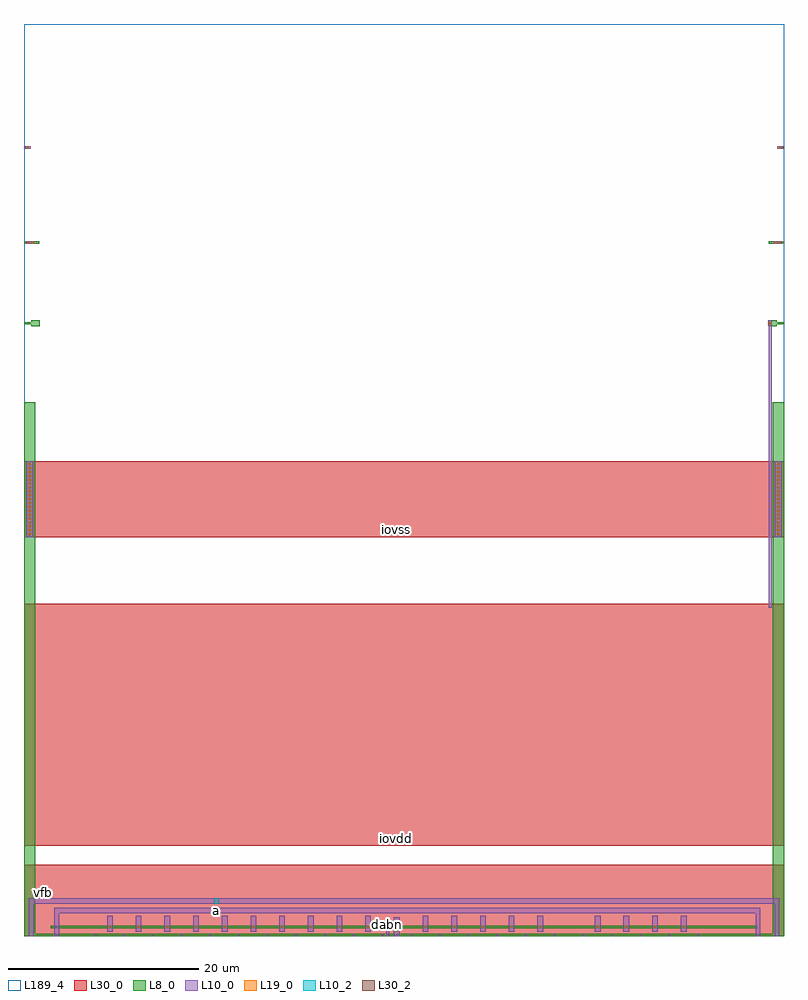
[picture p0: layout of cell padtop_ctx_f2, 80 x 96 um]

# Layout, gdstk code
import gdstk
lib = gdstk.Library(unit=1e-6, precision=1e-09)
def R(c, l, rs):  # rectangles x0, y0, x1, y1
    for r in rs: c.add(gdstk.rectangle(r[:2], r[2:], *l))
def A(c, l, x, y, w, h, nx, ny, dx, dy):  # array of equal rectangles
    R(c, l, [(x+i*dx, y+j*dy, x+i*dx+w, y+j*dy+h) for i in range(nx) for j in range(ny)])
def P(c, l, *ps):  # polygons
    for p in ps: c.add(gdstk.Polygon(p, *l))
L8_0 = (8, 0)
L10_0 = (10, 0)
L10_2 = (10, 2)
L19_0 = (19, 0)
L30_0 = (30, 0)
L30_2 = (30, 2)
L189_4 = (189, 4)

padtop_ctx_f2 = lib.new_cell('padtop_ctx_f2')
R(padtop_ctx_f2, L8_0, [(2.84,84.79,77.16,85.09)])
P(padtop_ctx_f2, L8_0, [(0,84),(0,140.17),(1.2,140.17),(1.2,84.26),(78.8,84.26),(78.8,140.17),(80,140.17),(80,84)],
  [(0.75,148.2),(0.75,148.42),(0,148.42),(0,148.58),(0.75,148.58),(0.75,148.8),(1.65,148.8),(1.65,148.2)],
  [(78.35,148.2),(78.35,148.8),(79.25,148.8),(79.25,148.58),(80,148.58),(80,148.42),(79.25,148.42),(79.25,148.2)],
  [(0.21,156.855),(0.21,156.92),(0,156.92),(0,157.08),(0.21,157.08),(0.21,157.145),(1.6,157.145),(1.6,156.855)],
  [(78.4,156.855),(78.4,157.145),(79.79,157.145),(79.79,157.08),(80,157.08),(80,156.92),(79.79,156.92),(79.79,156.855)],
  [(0.21,166.855),(0.21,166.92),(0,166.92),(0,167.08),(0.21,167.08),(0.21,167.145),(0.51,167.145),(0.51,166.855)],
  [(79.49,166.855),(79.49,167.145),(79.79,167.145),(79.79,167.08),(80,167.08),(80,166.92),(79.79,166.92),(79.79,166.855)])
A(padtop_ctx_f2, L10_0, 7.435, 84, 0.2, 0.2, 22, 1, 3.02, 0)
A(padtop_ctx_f2, L10_0, 8.745, 84.45, 0.6, 1.7, 10, 1, 3.02, 0)
A(padtop_ctx_f2, L10_0, 41.965, 84.45, 0.6, 1.7, 5, 1, 3.02, 0)
A(padtop_ctx_f2, L10_0, 60.085, 84.45, 0.6, 1.7, 4, 1, 3.02, 0)
R(padtop_ctx_f2, L10_0, [(38.15,84,38.45,86), (38.94,84,39.55,86), (1.9,88.25,2.2,88.85), (78.4,118.55,78.7,148.8), (0.25,126,0.95,134), (79.05,126,79.75,134), (0.25,156.855,1.1,157.145), (78.9,156.855,79.75,157.145), (0.1,166.855,0.7,167.145), (79.3,166.855,79.9,167.145)])
P(padtop_ctx_f2, L10_0, [(3.2,84),(3.2,87),(77.5,87),(77.5,84),(77,84),(77,86.4),(3.7,86.4),(3.7,84)],
  [(0.5,84),(0.5,88),(79.5,88),(79.5,84),(79,84),(79,87.4),(1,87.4),(1,84)])
R(padtop_ctx_f2, L10_2, [(38.15,85,38.45,85.5), (38.94,85,39.55,85.5), (20,86.4,20.5,87), (20,87.4,20.5,88), (1.9,88.25,2.2,88.85)])
A(padtop_ctx_f2, L19_0, 8.95, 84.845, 0.19, 0.19, 10, 1, 3.02, 0)
A(padtop_ctx_f2, L19_0, 42.17, 84.845, 0.19, 0.19, 5, 1, 3.02, 0)
A(padtop_ctx_f2, L19_0, 60.29, 84.845, 0.19, 0.19, 4, 1, 3.02, 0)
A(padtop_ctx_f2, L19_0, 0.505, 126.205, 0.19, 0.19, 1, 19, 0, 0.41)
A(padtop_ctx_f2, L19_0, 79.305, 126.205, 0.19, 0.19, 1, 19, 0, 0.41)
R(padtop_ctx_f2, L19_0, [(78.455,148.405,78.645,148.595), (0.355,156.905,0.545,157.095), (0.805,156.905,0.995,157.095), (79.005,156.905,79.195,157.095), (79.455,156.905,79.645,157.095), (0.265,166.905,0.455,167.095), (79.545,166.905,79.735,167.095)])
R(padtop_ctx_f2, L30_0, [(0,84,80,91.5), (0,93.5,80,119), (0,126,80,134)])
R(padtop_ctx_f2, L30_2, [(39,84.5,39.5,85), (39,94,39.5,94.5), (39,126.5,39.5,127)])
R(padtop_ctx_f2, L189_4, [(0,84,80,180)])
padtop_ctx_f2.add(gdstk.Label('a', (20.25,86.7), layer=10, texttype=25))
padtop_ctx_f2.add(gdstk.Label('b', (20.25,87.7), layer=10, texttype=25))
padtop_ctx_f2.add(gdstk.Label('dabn', (38.3,85.25), layer=10, texttype=25))
padtop_ctx_f2.add(gdstk.Label('dabp', (39.245,85.25), layer=10, texttype=25))
padtop_ctx_f2.add(gdstk.Label('vfb', (2.05,88.55), layer=10, texttype=25))
padtop_ctx_f2.add(gdstk.Label('iovdd', (39.25,84.75), layer=30, texttype=25))
padtop_ctx_f2.add(gdstk.Label('iovdd', (39.25,94.25), layer=30, texttype=25))
padtop_ctx_f2.add(gdstk.Label('iovss', (39.25,126.75), layer=30, texttype=25))

lib.write_gds('padtop_ctx_f2.gds')
